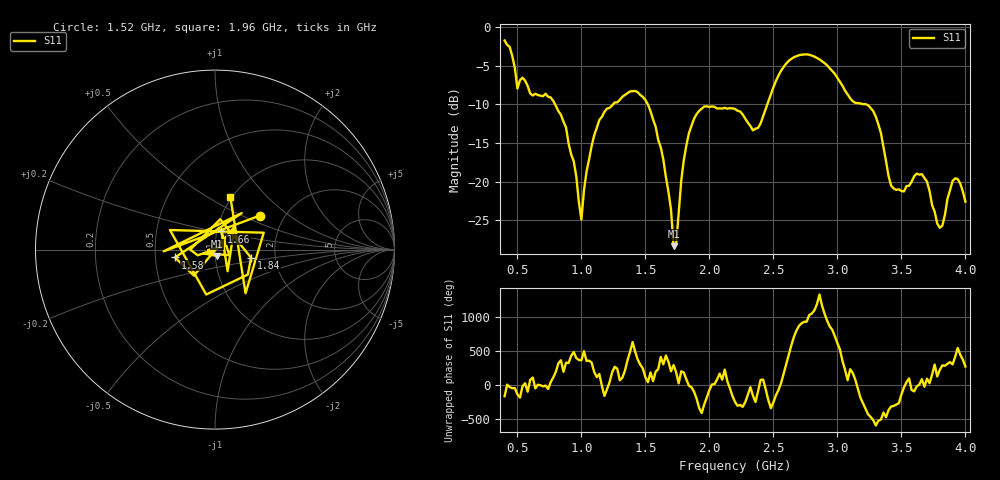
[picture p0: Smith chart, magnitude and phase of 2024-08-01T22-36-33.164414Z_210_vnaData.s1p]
!Created with skrf (http://scikit-rf.org).
# Hz S RI R 50.0
!freq ReS11 ImS11
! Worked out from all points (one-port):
!   181 points, 400 MHz to 4 GHz, reference 50 ohm
!   lowest |S11| = -28.3 dB at 1.72 GHz (marker M1), VSWR 1.08, Z = 51.2 - j3.7 ohm
!   |S11| at or under -10 dB: 794.4 MHz to 1.248 GHz (453.1 MHz wide, 44.4 % of centre); 1.519 GHz to 2.452 GHz (933.6 MHz wide, 47 % of centre); 3.224 GHz to end of sweep
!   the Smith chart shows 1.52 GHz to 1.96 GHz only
!   S11 on the Smith chart (normalised r, x): 1.52 GHz: 1.51, +0.64; 1.58 GHz: 0.63, -0.06; 1.66 GHz: 1.05, +0.22; 1.84 GHz: 1.49, -0.14; 1.96 GHz: 0.98, +0.64
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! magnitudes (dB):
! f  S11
! 400 MHz  -1.7
! 500 MHz  -8.0
! 720 MHz  -8.6
! 860 MHz  -12.2
! 940 MHz  -17.3
! 1 GHz  -24.9
! 1.1 GHz  -14.0
! 1.3 GHz  -9.4
! 1.52 GHz  -10.0
! 1.58 GHz  -12.9
! 1.66 GHz  -19.4
! 1.72 GHz  -28.3
! 1.74 GHz  -28.2
! 1.76 GHz  -24.1
! 1.84 GHz  -13.7
! 1.96 GHz  -10.3
! 2.2 GHz  -10.6
! 2.38 GHz  -13.0
! 2.66 GHz  -3.9
! 2.86 GHz  -4.2
! 3.1 GHz  -9.2
! 3.28 GHz  -10.9
! 3.42 GHz  -20.5
! 3.56 GHz  -20.5
! 3.66 GHz  -19.0
! 3.8 GHz  -25.9
! 3.92 GHz  -19.6
! 4 GHz  -22.6
